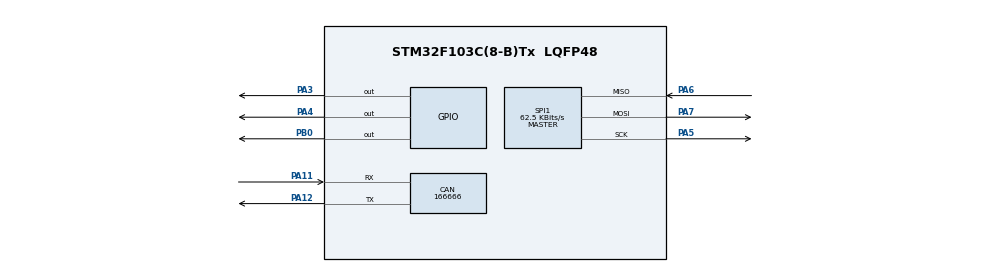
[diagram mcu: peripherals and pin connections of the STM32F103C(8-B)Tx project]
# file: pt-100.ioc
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CAN.CalculateBaudRate=166666
CAN.CalculateTimeBit=6000
CAN.CalculateTimeQuantum=2000.0
Mcu.Family=STM32F1
Mcu.Name=STM32F103C(8-B)Tx
Mcu.Package=LQFP48
NVIC.PriorityGroup=NVIC_PRIORITYGROUP_4
PA11.Mode=CAN_Activate
PA11.Signal=CAN_RX
PA12.Mode=CAN_Activate
PA12.Signal=CAN_TX
PA3.Signal=GPIO_Output
PA4.Signal=GPIO_Output
PA5.Mode=Full_Duplex_Master
PA5.Signal=SPI1_SCK
PA6.Mode=Full_Duplex_Master
PA6.Signal=SPI1_MISO
PA7.Mode=Full_Duplex_Master
PA7.Signal=SPI1_MOSI
PB0.Signal=GPIO_Output
ProjectManager.HeapSize=0x200
ProjectManager.StackSize=0x400
ProjectManager.TargetToolchain=STM32CubeIDE
RCC.APB1Freq_Value=8000000
RCC.APB2Freq_Value=8000000
SPI1.BaudRatePrescaler=SPI_BAUDRATEPRESCALER_128
SPI1.CLKPhase=SPI_PHASE_2EDGE
SPI1.CalculateBaudRate=62.5 KBits/s
SPI1.DataSize=SPI_DATASIZE_16BIT
SPI1.Direction=SPI_DIRECTION_2LINES
SPI1.Mode=SPI_MODE_MASTER
SPI1.VirtualType=VM_MASTER
board=custom

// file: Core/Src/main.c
/* USER CODE BEGIN Header */
/**
  ******************************************************************************
  * @file           : main.c
  * @brief          : Main program body
  ******************************************************************************
  * @attention
  *
  * Copyright (c) 2023 STMicroelectronics.
  * All rights reserved.
  *
  * This software is licensed under terms that can be found in the LICENSE file
  * in the root directory of this software component.
  * If no LICENSE file comes with this software, it is provided AS-IS.
  *
  ******************************************************************************
  */
/* USER CODE END Header */
#include "main.h"

/* USER CODE BEGIN Includes */
#include "Max31865.h"
/* USER CODE END Includes */

CAN_HandleTypeDef hcan;

SPI_HandleTypeDef hspi1;

void SystemClock_Config(void);
static void MX_GPIO_Init(void);
static void MX_CAN_Init(void);
static void MX_SPI1_Init(void);

int main(void)
{
  /* USER CODE BEGIN 1 */
	MAX31865_GPIO sensor1;
	sensor1.MISO_PIN = GPIO_PIN_6;
	sensor1.MISO_PORT = GPIOA;
	sensor1.MOSI_PIN = GPIO_PIN_7;
	sensor1.MOSI_PORT = GPIOA;
	sensor1.CLK_PIN = GPIO_PIN_5;
	sensor1.CLK_PORT = GPIOA;
	sensor1.CE_PIN = GPIO_PIN_0;
	sensor1.CE_PORT = GPIOB;

	MAX31865_GPIO sensor2;
	sensor2.MISO_PIN = GPIO_PIN_6;
	sensor2.MISO_PORT = GPIOA;
	sensor2.MOSI_PIN = GPIO_PIN_7;
	sensor2.MOSI_PORT = GPIOA;
	sensor2.CLK_PIN = GPIO_PIN_5;
	sensor2.CLK_PORT = GPIOA;
	sensor2.CE_PIN = GPIO_PIN_4;
	sensor2.CE_PORT = GPIOA;

	MAX31865_GPIO sensor3;
	sensor3.MISO_PIN = GPIO_PIN_6;
	sensor3.MISO_PORT = GPIOA;
	sensor3.MOSI_PIN = GPIO_PIN_7;
	sensor3.MOSI_PORT = GPIOA;
	sensor3.CLK_PIN = GPIO_PIN_5;
	sensor3.CLK_PORT = GPIOA;
	sensor3.CE_PIN = GPIO_PIN_3;
	sensor3.CE_PORT = GPIOA;
  /* USER CODE END 1 */

  /* MCU Configuration--------------------------------------------------------*/

  /* Reset of all peripherals, Initializes the Flash interface and the Systick. */
  HAL_Init();

  /* USER CODE BEGIN Init */
  MAX31865_init(&sensor1, 2);
  MAX31865_init(&sensor2, 2);
  MAX31865_init(&sensor3, 2);
  /* USER CODE END Init */

  /* Configure the system clock */
  SystemClock_Config();

  /* Initialize all configured peripherals */
  MX_GPIO_Init();
  MX_CAN_Init();
  MX_SPI1_Init();

  /* Infinite loop */
  /* USER CODE BEGIN WHILE */
  while (1)
  {
	  float temp1 = MAX31865_readTemp(&sensor1);
	  float temp2 = MAX31865_readTemp(&sensor2);
	  float temp3 = MAX31865_readTemp(&sensor3);
	  HAL_Delay(500);

    /* USER CODE END WHILE */

  }
}

void SystemClock_Config(void)
{
  RCC_OscInitTypeDef RCC_OscInitStruct = {0};
  RCC_ClkInitTypeDef RCC_ClkInitStruct = {0};

  /** Initializes the RCC Oscillators according to the specified parameters
  * in the RCC_OscInitTypeDef structure.
  */
  RCC_OscInitStruct.OscillatorType = RCC_OSCILLATORTYPE_HSI;
  RCC_OscInitStruct.HSIState = RCC_HSI_ON;
  RCC_OscInitStruct.HSICalibrationValue = RCC_HSICALIBRATION_DEFAULT;
  RCC_OscInitStruct.PLL.PLLState = RCC_PLL_NONE;
  if (HAL_RCC_OscConfig(&RCC_OscInitStruct) != HAL_OK)
  {
    Error_Handler();
  }

  /** Initializes the CPU, AHB and APB buses clocks
  */
  RCC_ClkInitStruct.ClockType = RCC_CLOCKTYPE_HCLK|RCC_CLOCKTYPE_SYSCLK
                              |RCC_CLOCKTYPE_PCLK1|RCC_CLOCKTYPE_PCLK2;
  RCC_ClkInitStruct.SYSCLKSource = RCC_SYSCLKSOURCE_HSI;
  RCC_ClkInitStruct.AHBCLKDivider = RCC_SYSCLK_DIV1;
  RCC_ClkInitStruct.APB1CLKDivider = RCC_HCLK_DIV1;
  RCC_ClkInitStruct.APB2CLKDivider = RCC_HCLK_DIV1;

  if (HAL_RCC_ClockConfig(&RCC_ClkInitStruct, FLASH_LATENCY_0) != HAL_OK)
  {
    Error_Handler();
  }
}

static void MX_CAN_Init(void)
{

  hcan.Instance = CAN1;
  hcan.Init.Prescaler = 16;
  hcan.Init.Mode = CAN_MODE_NORMAL;
  hcan.Init.SyncJumpWidth = CAN_SJW_1TQ;
  hcan.Init.TimeSeg1 = CAN_BS1_1TQ;
  hcan.Init.TimeSeg2 = CAN_BS2_1TQ;
  hcan.Init.TimeTriggeredMode = DISABLE;
  hcan.Init.AutoBusOff = DISABLE;
  hcan.Init.AutoWakeUp = DISABLE;
  hcan.Init.AutoRetransmission = DISABLE;
  hcan.Init.ReceiveFifoLocked = DISABLE;
  hcan.Init.TransmitFifoPriority = DISABLE;
  if (HAL_CAN_Init(&hcan) != HAL_OK)
  {
    Error_Handler();
  }

}

static void MX_SPI1_Init(void)
{

  /* SPI1 parameter configuration*/
  hspi1.Instance = SPI1;
  hspi1.Init.Mode = SPI_MODE_MASTER;
  hspi1.Init.Direction = SPI_DIRECTION_2LINES;
  hspi1.Init.DataSize = SPI_DATASIZE_8BIT;
  hspi1.Init.CLKPolarity = SPI_POLARITY_LOW;
  hspi1.Init.CLKPhase = SPI_PHASE_2EDGE;
  hspi1.Init.NSS = SPI_NSS_SOFT;
  hspi1.Init.BaudRatePrescaler = SPI_BAUDRATEPRESCALER_128;
  hspi1.Init.FirstBit = SPI_FIRSTBIT_MSB;
  hspi1.Init.TIMode = SPI_TIMODE_DISABLE;
  hspi1.Init.CRCCalculation = SPI_CRCCALCULATION_DISABLE;
  hspi1.Init.CRCPolynomial = 10;
  if (HAL_SPI_Init(&hspi1) != HAL_OK)
  {
    Error_Handler();
  }

}

static void MX_GPIO_Init(void)
{
  GPIO_InitTypeDef GPIO_InitStruct = {0};

  /* GPIO Ports Clock Enable */
  __HAL_RCC_GPIOA_CLK_ENABLE();
  __HAL_RCC_GPIOB_CLK_ENABLE();

  /*Configure GPIO pin Output Level */
  HAL_GPIO_WritePin(GPIOA, GPIO_PIN_3|GPIO_PIN_4, GPIO_PIN_RESET);

  /*Configure GPIO pin Output Level */
  HAL_GPIO_WritePin(GPIOB, GPIO_PIN_0, GPIO_PIN_RESET);

  /*Configure GPIO pins : PA3 PA4 */
  GPIO_InitStruct.Pin = GPIO_PIN_3|GPIO_PIN_4;
  GPIO_InitStruct.Mode = GPIO_MODE_OUTPUT_PP;
  GPIO_InitStruct.Pull = GPIO_NOPULL;
  GPIO_InitStruct.Speed = GPIO_SPEED_FREQ_LOW;
  HAL_GPIO_Init(GPIOA, &GPIO_InitStruct);

  /*Configure GPIO pin : PB0 */
  GPIO_InitStruct.Pin = GPIO_PIN_0;
  GPIO_InitStruct.Mode = GPIO_MODE_OUTPUT_PP;
  GPIO_InitStruct.Pull = GPIO_NOPULL;
  GPIO_InitStruct.Speed = GPIO_SPEED_FREQ_LOW;
  HAL_GPIO_Init(GPIOB, &GPIO_InitStruct);

}

void Error_Handler(void)
{
  __disable_irq();
  while (1)
  {
  }
}
